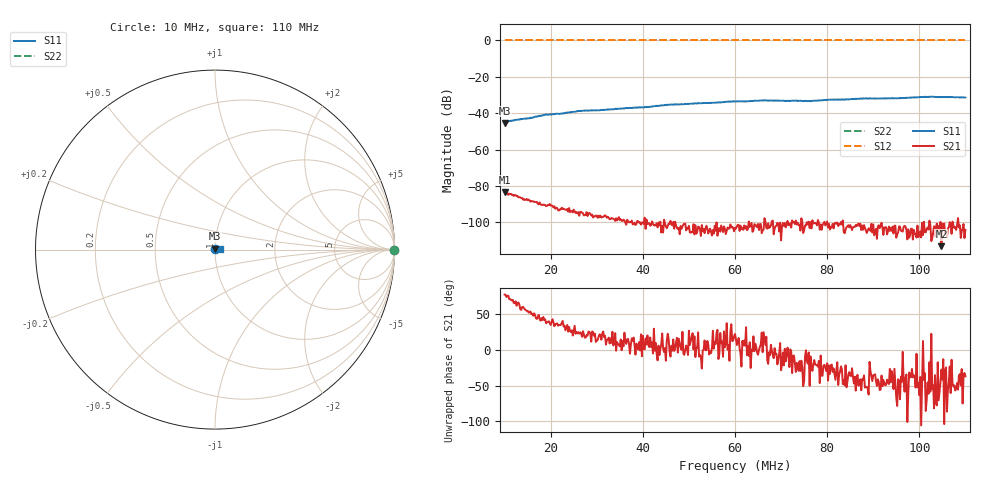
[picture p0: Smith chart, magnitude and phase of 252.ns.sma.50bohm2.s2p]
! Anritsu VNA Master:  Model: MS2036C/10/77
! SN:  1601066
! /card0/usr/ns.50bohm2.s2p
! Existing Calibration Information:
! TYPE:  Current Settings,  Active Cal Settings
! TIME:  12/21/2017 05:22:55 PM,  12/21/2017 05:13:10 PM
! INTERNAL TEMP:  39.5 C,  40.0 C
! # POINTS:  501,  501
! START FREQ:  10.000 MHz,  10.000 MHz
! STOP FREQ:  110.000 MHz,  110.000 MHz
! SOURCE POWER:  High,  High
! IFBW:  100 Hz,  100 Hz
! AVG FACTOR:  1 ,  1
! REF PLANE 1:  0 mm,  0 mm
! REF PLANE 2:  0 mm,  0 mm
! CAL TYPE:  Full S11,  Full S11
! CAL METHOD:  SOLT,  SOLT
! CAL LINE TYPE:  Coax,  Coax
! DUT PORT 1:  K-Conn(F),  K-Conn(F)
! DUT PORT 2:  K-Conn(F),  K-Conn(F)
! CAL STATUS:  OK: Accuracy High,  --
# GHZ S DB R 50.0
! FREQ.GHZ  S11DB  S11A  S21DB  S21A  S12DB  S12A  S22DB  S22A
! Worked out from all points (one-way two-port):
!   501 points, 10 MHz to 110 MHz, reference 50 ohm
!   highest |S21| = -83.33 dB at 10 MHz (marker M1); lowest = -113.1 dB at 104.8 MHz (marker M2)
!   lowest |S11| = -45.4 dB at 10 MHz (marker M3), VSWR 1.01, Z = 50.2 + j0.51 ohm
!   |S11| at or under -10 dB: start of sweep to end of sweep
!   |S22| runs from 0.0 to 0.0 dB; largest |S21 - S12| = 1
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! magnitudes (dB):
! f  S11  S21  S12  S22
! 10 MHz  -45.4  -83.3  0.0  0.0
! 11.4 MHz  -44.1  -84.4  0.0  0.0
! 15.6 MHz  -42.5  -88.6  0.0  0.0
! 18.8 MHz  -40.8  -90.5  0.0  0.0
! 22.2 MHz  -40.3  -92.9  0.0  0.0
! 26.8 MHz  -38.7  -94.8  0.0  0.0
! 30.6 MHz  -38.4  -97.2  0.0  0.0
! 36.6 MHz  -37.2  -98.5  0.0  0.0
! 41 MHz  -36.6  -101.0  0.0  0.0
! 43.4 MHz  -35.9  -100.1  0.0  0.0
! 46 MHz  -35.2  -99.1  0.0  0.0
! 60 MHz  -33.5  -103.0  0.0  0.0
! 62.4 MHz  -33.5  -102.1  0.0  0.0
! 66.4 MHz  -33.0  -97.7  0.0  0.0
! 76.8 MHz  -33.2  -98.8  0.0  0.0
! 80.2 MHz  -32.6  -102.9  0.0  0.0
! 88.2 MHz  -31.9  -103.0  0.0  0.0
! 93.4 MHz  -31.8  -102.3  0.0  0.0
! 96.2 MHz  -31.7  -104.8  0.0  0.0
! 101 MHz  -31.0  -99.7  0.0  0.0
! 104.8 MHz  -31.1  -113.1  0.0  0.0
! 110 MHz  -31.3  -104.1  0.0  0.0
